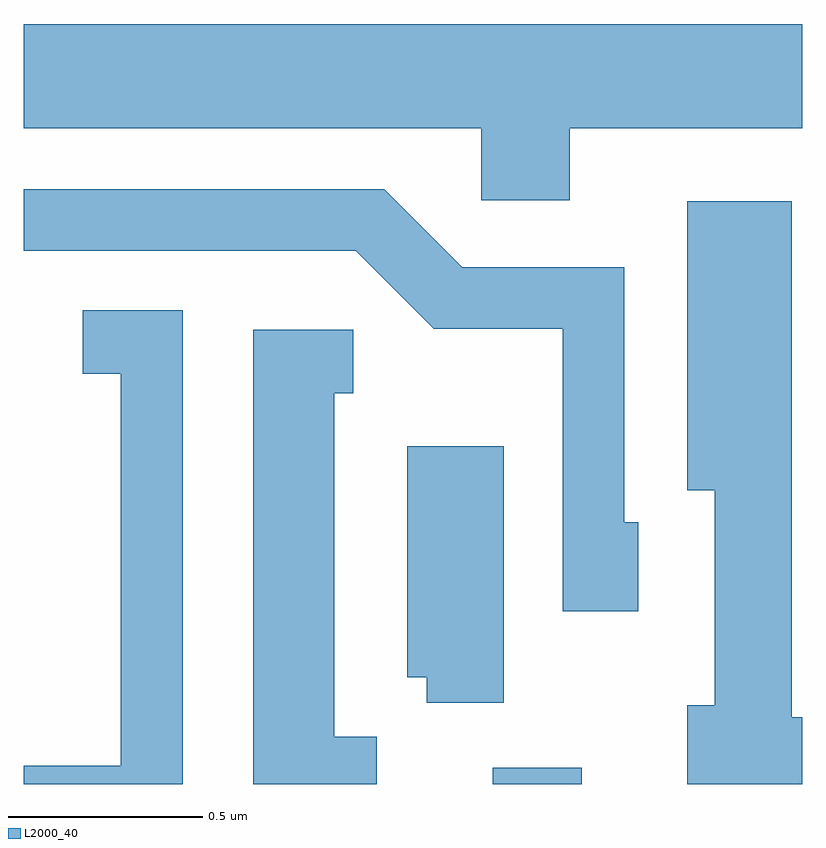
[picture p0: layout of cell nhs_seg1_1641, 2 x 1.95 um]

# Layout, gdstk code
import gdstk
lib = gdstk.Library(unit=1e-6, precision=1e-09)
def R(c, l, rs):  # rectangles x0, y0, x1, y1
    for r in rs: c.add(gdstk.rectangle(r[:2], r[2:], *l))
def P(c, l, *ps):  # polygons
    for p in ps: c.add(gdstk.Polygon(p, *l))
L2000_40 = (2000, 40)

nhs_seg1_1641 = lib.new_cell('nhs_seg1_1641')
R(nhs_seg1_1641, L2000_40, [(198.816,855.712,199.044,855.754)])
P(nhs_seg1_1641, L2000_40, [(199.014,857.396),(199.611,857.396),(199.611,857.664),(197.611,857.664),(197.611,857.396),(198.786,857.396),(198.786,857.211),(199.014,857.211)],
  [(199.189,856.384),(199.154,856.384),(199.154,857.039),(198.737,857.039),(198.537,857.239),(197.611,857.239),(197.611,857.081),(198.464,857.081),(198.664,856.881),(198.996,856.881),(198.996,856.156),(199.189,856.156)],
  [(199.611,855.884),(199.584,855.884),(199.584,857.209),(199.316,857.209),(199.316,856.466),(199.386,856.466),(199.386,855.914),(199.316,855.914),(199.316,855.712),(199.611,855.712)],
  [(198.019,856.929),(197.763,856.929),(197.763,856.766),(197.861,856.766),(197.861,855.759),(197.611,855.759),(197.611,855.712),(198.019,855.712)],
  [(198.518,855.834),(198.409,855.834),(198.409,856.716),(198.458,856.716),(198.458,856.879),(198.201,856.879),(198.201,855.712),(198.518,855.712)],
  [(198.844,856.579),(198.596,856.579),(198.596,855.986),(198.646,855.986),(198.646,855.921),(198.844,855.921)])

lib.write_gds('nhs_seg1_1641.gds')
